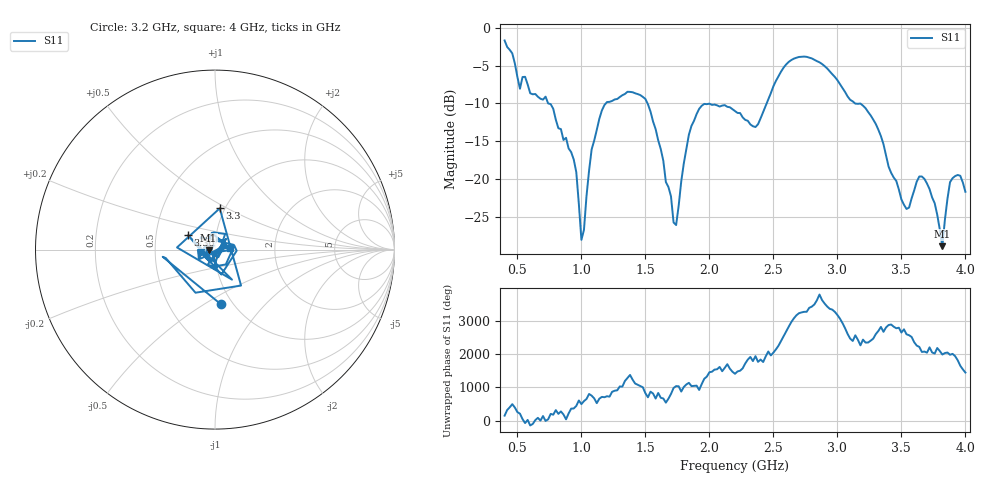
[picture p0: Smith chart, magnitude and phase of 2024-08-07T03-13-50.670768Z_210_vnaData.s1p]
!Created with skrf (http://scikit-rf.org).
# Hz S RI R 50.0
!freq ReS11 ImS11
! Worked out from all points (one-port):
!   181 points, 400 MHz to 4 GHz, reference 50 ohm
!   lowest |S11| = -28.9 dB at 3.82 GHz (marker M1), VSWR 1.07, Z = 46.6 - j0.465 ohm
!   |S11| at or under -10 dB: 741.8 MHz to 1.19 GHz (448.6 MHz wide, 46.4 % of centre); 1.517 GHz to 2.447 GHz (929.8 MHz wide, 46.9 % of centre); 3.139 GHz to end of sweep
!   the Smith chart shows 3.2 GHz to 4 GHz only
!   S11 on the Smith chart (normalised r, x): 3.2 GHz: 0.88, -0.59; 3.3 GHz: 0.95, +0.46; 3.36 GHz: 0.73, +0.12; 4 GHz: 1.18, +0.02
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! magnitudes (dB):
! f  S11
! 400 MHz  -1.7
! 520 MHz  -8.1
! 720 MHz  -9.1
! 860 MHz  -14.8
! 960 MHz  -19.1
! 1 GHz  -28.0
! 1.08 GHz  -16.1
! 1.14 GHz  -12.0
! 1.3 GHz  -9.1
! 1.5 GHz  -9.4
! 1.62 GHz  -16.0
! 1.72 GHz  -25.7
! 1.76 GHz  -23.5
! 1.84 GHz  -14.1
! 1.92 GHz  -10.7
! 2.2 GHz  -11.0
! 2.36 GHz  -13.1
! 2.66 GHz  -4.1
! 2.88 GHz  -4.8
! 3.1 GHz  -9.5
! 3.2 GHz  -10.3
! 3.3 GHz  -12.7
! 3.36 GHz  -15.4
! 3.56 GHz  -23.8
! 3.68 GHz  -20.0
! 3.82 GHz  -28.9
! 3.88 GHz  -20.4
! 4 GHz  -21.7
